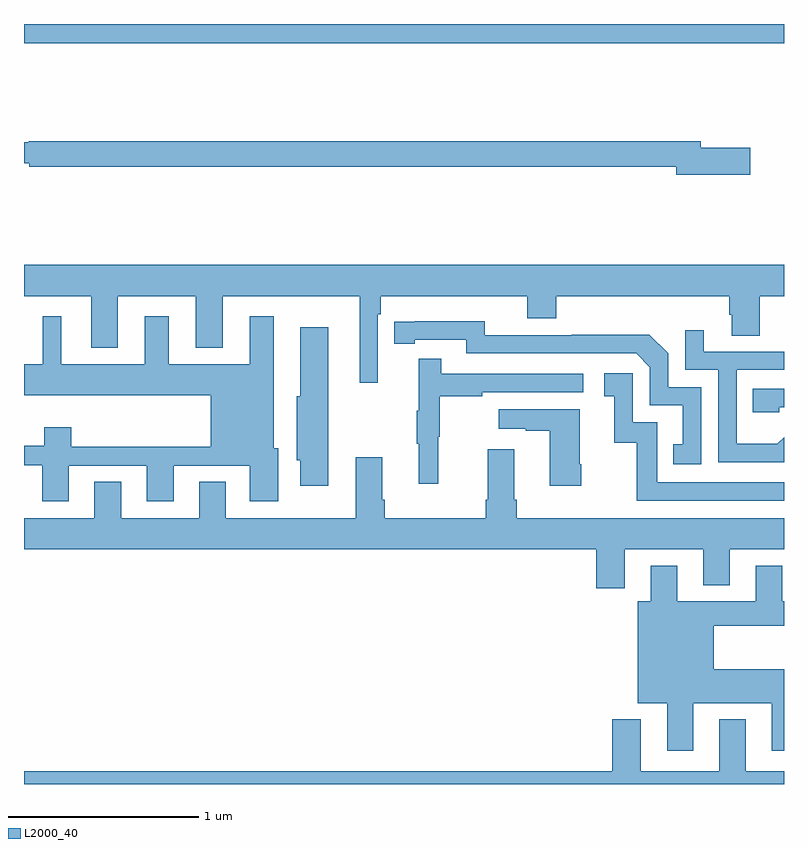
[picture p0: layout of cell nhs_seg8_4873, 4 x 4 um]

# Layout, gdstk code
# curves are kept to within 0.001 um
import gdstk
lib = gdstk.Library(unit=1e-6, precision=1e-09)
def R(c, l, rs):  # rectangles x0, y0, x1, y1
    for r in rs: c.add(gdstk.rectangle(r[:2], r[2:], *l))
def P(c, l, *ps):  # polygons
    for p in ps: c.add(gdstk.Polygon(p, *l))
L2000_40 = (2000, 40)

nhs_seg8_4873 = lib.new_cell('nhs_seg8_4873')
R(nhs_seg8_4873, L2000_40, [(405,1149.8,409,1149.9)])
P(nhs_seg8_4873, L2000_40, [(408.823,1149.248),(408.562,1149.248),(408.562,1149.284),(405.026,1149.284),(405.026,1149.277),(405,1149.277),(405,1149.167),(405.028,1149.167),(405.028,1149.148),(408.434,1149.148),(408.434,1149.106),(408.823,1149.106)],
  [(406.863,1148.372),(406.877,1148.372),(406.877,1148.468),(407.648,1148.468),(407.648,1148.351),(407.801,1148.351),(407.801,1148.468),(408.713,1148.468),(408.713,1148.37),(408.725,1148.37),(408.725,1148.26),(408.873,1148.26),(408.873,1148.468),(409,1148.468),(409,1148.632),(405,1148.632),(405,1148.468),(405.353,1148.468),(405.353,1148.195),(405.493,1148.195),(405.493,1148.468),(405.905,1148.468),(405.905,1148.195),(406.045,1148.195),(406.045,1148.468),(406.766,1148.468),(406.766,1148.013),(406.863,1148.013)],
  [(405.235,1147.575),(405.647,1147.575),(405.647,1147.389),(405.787,1147.389),(405.787,1147.575),(406.187,1147.575),(406.187,1147.389),(406.339,1147.389),(406.339,1147.668),(406.315,1147.668),(406.315,1148.362),(406.187,1148.362),(406.187,1148.11),(405.763,1148.11),(405.763,1148.362),(405.635,1148.362),(405.635,1148.11),(405.196,1148.11),(405.196,1148.362),(405.098,1148.362),(405.098,1148.11),(405,1148.11),(405,1147.946),(405.983,1147.946),(405.983,1147.676),(405.248,1147.676),(405.248,1147.777),(405.106,1147.777),(405.106,1147.679),(405,1147.679),(405,1147.578),(405.095,1147.578),(405.095,1147.389),(405.235,1147.389)],
  [(408.564,1147.989),(408.39,1147.989),(408.39,1148.166),(408.292,1148.264),(407.884,1148.264),(407.884,1148.262),(407.424,1148.262),(407.424,1148.335),(406.948,1148.334),(406.948,1148.218),(407.056,1148.218),(407.056,1148.238),(407.328,1148.238),(407.328,1148.166),(408.222,1148.166),(408.294,1148.094),(408.294,1147.893),(408.467,1147.893),(408.467,1147.689),(408.418,1147.689),(408.418,1147.584),(408.564,1147.584)],
  [(406.6,1148.305),(406.454,1148.305),(406.454,1147.941),(406.436,1147.941),(406.436,1147.605),(406.454,1147.605),(406.454,1147.47),(406.6,1147.47)],
  [(409,1147.726),(408.964,1147.69),(408.75,1147.69),(408.75,1148.079),(409,1148.079),(409,1148.175),(408.577,1148.175),(408.577,1148.287),(408.48,1148.287),(408.48,1148.079),(408.654,1148.079),(408.654,1147.593),(409,1147.593)],
  [(407.18,1147.728),(407.188,1147.728),(407.188,1147.942),(407.411,1147.942),(407.411,1147.962),(407.944,1147.962),(407.944,1148.058),(407.195,1148.058),(407.195,1148.137),(407.078,1148.137),(407.078,1147.865),(407.067,1147.865),(407.067,1147.691),(407.078,1147.691),(407.078,1147.479),(407.18,1147.479)],
  [(409,1147.488),(408.333,1147.488),(408.333,1147.803),(408.204,1147.803),(408.204,1148.062),(408.054,1148.062),(408.054,1147.941),(408.107,1147.941),(408.107,1147.695),(408.225,1147.695),(408.225,1147.392),(409,1147.392)],
  [(408.975,1147.884),(409,1147.884),(409,1147.98),(408.835,1147.98),(408.835,1147.857),(408.975,1147.857)],
  [(407.934,1147.582),(407.926,1147.582),(407.926,1147.873),(407.499,1147.873),(407.499,1147.769),(407.642,1147.769),(407.642,1147.759),(407.768,1147.759),(407.768,1147.47),(407.934,1147.47)],
  [(408.163,1147.136),(408.575,1147.136),(408.575,1146.947),(408.715,1146.947),(408.715,1147.136),(409,1147.136),(409,1147.3),(407.594,1147.3),(407.594,1147.396),(407.581,1147.396),(407.581,1147.663),(407.441,1147.663),(407.441,1147.396),(407.429,1147.396),(407.429,1147.3),(406.898,1147.3),(406.898,1147.396),(406.885,1147.396),(406.885,1147.621),(406.745,1147.621),(406.745,1147.3),(406.063,1147.3),(406.063,1147.49),(405.923,1147.49),(405.923,1147.3),(405.511,1147.3),(405.511,1147.49),(405.371,1147.49),(405.371,1147.3),(405,1147.3),(405,1147.136),(408.011,1147.136),(408.011,1146.93),(408.163,1146.93)],
  [(408.523,1146.326),(408.935,1146.326),(408.935,1146.075),(409,1146.075),(409,1146.505),(408.631,1146.505),(408.631,1146.734),(409,1146.734),(409,1146.862),(408.991,1146.862),(408.991,1147.048),(408.851,1147.048),(408.851,1146.862),(408.439,1146.862),(408.439,1147.048),(408.299,1147.048),(408.299,1146.862),(408.23,1146.862),(408.23,1146.326),(408.386,1146.326),(408.386,1146.075),(408.523,1146.075)],
  [(409,1145.968),(408.799,1145.968),(408.799,1146.241),(408.659,1146.241),(408.659,1145.968),(408.247,1145.968),(408.247,1146.241),(408.095,1146.241),(408.095,1145.968),(405,1145.968),(405,1145.9),(409,1145.9)])

lib.write_gds('nhs_seg8_4873.gds')
